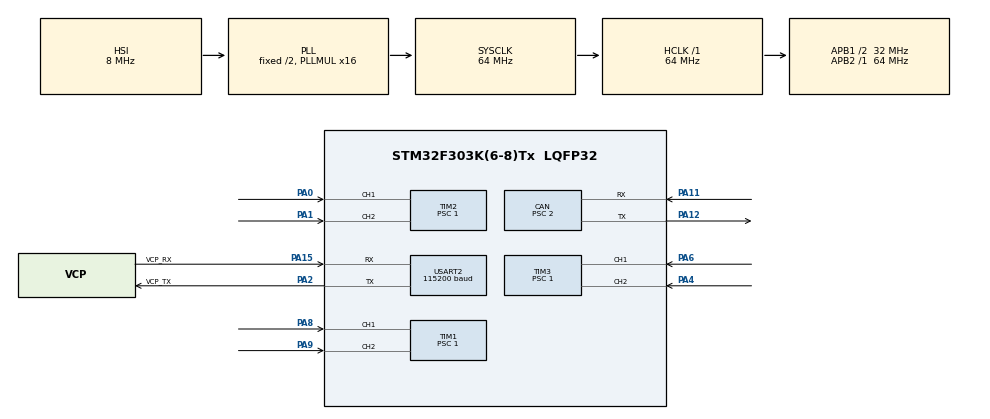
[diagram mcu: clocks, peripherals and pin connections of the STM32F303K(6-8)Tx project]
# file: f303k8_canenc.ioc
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CAN.BS1=CAN_BS1_7TQ
CAN.BS2=CAN_BS2_8TQ
CAN.CalculateTimeQuantum=62.5
CAN.Prescaler=2
Mcu.Family=STM32F3
Mcu.Name=STM32F303K(6-8)Tx
Mcu.Package=LQFP32
NVIC.PriorityGroup=NVIC_PRIORITYGROUP_4
NVIC.TIM1_UP_TIM16_IRQn=true\:0\:0\:false\:false\:true\:true\:true
PA0.Signal=S_TIM2_CH1_ETR
PA1.Signal=S_TIM2_CH2
PA11.Mode=Master
PA11.Signal=CAN_RX
PA12.Mode=Master
PA12.Signal=CAN_TX
PA13.GPIO_Label=SWDIO
PA13.Mode=Serial_Wire
PA13.Signal=SYS_JTMS-SWDIO
PA14.GPIO_Label=SWCLK
PA14.Mode=Serial_Wire
PA14.Signal=SYS_JTCK-SWCLK
PA15.GPIO_Label=VCP_RX
PA15.Mode=Asynchronous
PA15.Signal=USART2_RX
PA2.GPIO_Label=VCP_TX
PA2.Mode=Asynchronous
PA2.Signal=USART2_TX
PA4.Signal=S_TIM3_CH2
PA6.Signal=S_TIM3_CH1
PA8.Signal=S_TIM1_CH1
PA9.Signal=S_TIM1_CH2
PF0\ /\ OSC_IN.GPIO_Label=MCO
PF0\ /\ OSC_IN.Mode=HSE-External-Clock-Source
PF0\ /\ OSC_IN.Signal=RCC_OSC_IN
ProjectManager.HeapSize=0x200
ProjectManager.StackSize=0x400
ProjectManager.TargetToolchain=STM32CubeIDE
RCC.AHBFreq_Value=64000000
RCC.APB1CLKDivider=RCC_HCLK_DIV2
RCC.APB1Freq_Value=32000000
RCC.APB1TimFreq_Value=64000000
RCC.APB2Freq_Value=64000000
RCC.APB2TimFreq_Value=64000000
RCC.CortexFreq_Value=64000000
RCC.HCLKFreq_Value=64000000
RCC.HSE_VALUE=8000000
RCC.HSI_VALUE=8000000
RCC.PLLMUL=RCC_PLL_MUL16
RCC.SYSCLKFreq_VALUE=64000000
RCC.SYSCLKSourceVirtual=RCC_SYSCLKSOURCE_PLLCLK
SH.S_TIM1_CH1.0=TIM1_CH1,Encoder_Interface
SH.S_TIM1_CH2.0=TIM1_CH2,Encoder_Interface
SH.S_TIM2_CH1_ETR.0=TIM2_CH1,Encoder_Interface
SH.S_TIM2_CH2.0=TIM2_CH2,Encoder_Interface
SH.S_TIM3_CH1.0=TIM3_CH1,Encoder_Interface
SH.S_TIM3_CH2.0=TIM3_CH2,Encoder_Interface
TIM1.Period=59999
TIM1.Prescaler=1
TIM16.Period=6400
TIM16.Prescaler=999
TIM2.Period=59999
TIM2.Prescaler=1
TIM3.Period=59999
TIM3.Prescaler=1
USART2.BaudRate=115200
USART2.VirtualMode-Asynchronous=VM_ASYNC
VP_TIM16_VS_ClockSourceINT.Mode=Enable_Timer
board=NUCLEO-F303K8

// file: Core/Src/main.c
/* USER CODE BEGIN Header */
/**
 ******************************************************************************
 * @file           : main.c
 * @brief          : Main program body
 ******************************************************************************
 * @attention
 *
 * <h2><center>&copy; Copyright (c) 2021 STMicroelectronics.
 * All rights reserved.</center></h2>
 *
 * This software component is licensed by ST under BSD 3-Clause license,
 * the "License"; You may not use this file except in compliance with the
 * License. You may obtain a copy of the License at:
 *                        opensource.org/licenses/BSD-3-Clause
 *
 ******************************************************************************
 */
/* USER CODE END Header */
#include "main.h"

/* USER CODE BEGIN Includes */
#include "xprintf.h"
/* USER CODE END Includes */

CAN_HandleTypeDef hcan;

TIM_HandleTypeDef htim1;
TIM_HandleTypeDef htim2;
TIM_HandleTypeDef htim3;
TIM_HandleTypeDef htim16;

UART_HandleTypeDef huart2;

void SystemClock_Config(void);
static void MX_GPIO_Init(void);
static void MX_USART2_UART_Init(void);
static void MX_CAN_Init(void);
static void MX_TIM1_Init(void);
static void MX_TIM2_Init(void);
static void MX_TIM3_Init(void);
static void MX_TIM16_Init(void);

/* USER CODE BEGIN 0 */
void uart_putc(uint8_t c) {
	char buf[1];
	buf[0] = c;
	HAL_UART_Transmit(&huart2, (uint8_t*) buf, sizeof(buf), 0xFFFF);
}
CAN_TxHeaderTypeDef TxHeader;
CAN_TxHeaderTypeDef TxHeader1;

uint8_t TxData[8] = { 0 };
uint32_t TxMailbox;
uint8_t cnt;
TIM_Encoder_InitTypeDef sConfig1 = { 0 };
TIM_Encoder_InitTypeDef sConfig2 = { 0 };
TIM_Encoder_InitTypeDef sConfig3 = { 0 };
TIM_MasterConfigTypeDef sMasterConfig1 = { 0 };
TIM_MasterConfigTypeDef sMasterConfig2 = { 0 };
TIM_MasterConfigTypeDef sMasterConfig3 = { 0 };
int32_t rpm[3] = { 0 };

int16_t count[3] = { 0 };

void Count2rpm() {
	rpm[0] = TIM1->CNT - 30000;
	rpm[1] = TIM2->CNT - 30000;
	rpm[2] = TIM3->CNT - 30000;
	for (int i = 0; i < 2; i++) {
		count[i] = count[i] + rpm[i];
		if (count[i] < 0)
			count[i] = count[i] + 65536;
		if (count[i] > 65536)
			count[i] = count[i] - 65536;
	}
	TIM1->CNT = 30000;
	TIM2->CNT = 30000;
	TIM3->CNT = 30000;
}

/* USER CODE END 0 */

int main(void) {
	/* USER CODE BEGIN 1 */
	xdev_out(uart_putc);
	/* USER CODE END 1 */

	/* MCU Configuration--------------------------------------------------------*/

	/* Reset of all peripherals, Initializes the Flash interface and the Systick. */
	HAL_Init();

	/* Configure the system clock */
	SystemClock_Config();

	/* Initialize all configured peripherals */
	MX_GPIO_Init();
	MX_USART2_UART_Init();
	MX_CAN_Init();
	MX_TIM1_Init();
	MX_TIM2_Init();
	MX_TIM3_Init();
	MX_TIM16_Init();
	/* USER CODE BEGIN 2 */
	if (HAL_TIM_Encoder_Init(&htim1, &sConfig1) != HAL_OK) {
		Error_Handler();
	}
	HAL_TIM_Encoder_Start(&htim1, TIM_CHANNEL_ALL);
	TIM1->CNT = 30000;
	if (HAL_TIM_Encoder_Init(&htim2, &sConfig2) != HAL_OK) {
		Error_Handler();
	}
	HAL_TIM_Encoder_Start(&htim2, TIM_CHANNEL_ALL);
	TIM2->CNT = 30000;
	if (HAL_TIM_Encoder_Init(&htim3, &sConfig3) != HAL_OK) {
		Error_Handler();
	}
	HAL_TIM_Encoder_Start(&htim3, TIM_CHANNEL_ALL);
	TIM3->CNT = 30000;
	HAL_TIM_Base_Start_IT(&htim16);
	HAL_CAN_Start(&hcan);
	if (HAL_CAN_ActivateNotification(&hcan, CAN_IT_RX_FIFO0_MSG_PENDING)
			!= HAL_OK) {

		Error_Handler();
	}
	/* USER CODE END 2 */

	/* Infinite loop */
	while (1) {

		/* USER CODE BEGIN 3 */
		TxHeader.StdId = 0x301;
		TxHeader.RTR = CAN_RTR_DATA;
		TxHeader.IDE = CAN_ID_STD;
		TxHeader.DLC = 8;
		TxHeader.TransmitGlobalTime = DISABLE;

		TxHeader1.StdId = 0x302;
		TxHeader1.RTR = CAN_RTR_DATA;
		TxHeader1.IDE = CAN_ID_STD;
		TxHeader1.DLC = 8;
		TxHeader1.TransmitGlobalTime = DISABLE;

		uint16_t txrpm[3] = { rpm[0] + 512, rpm[1] + 512, rpm[2] + 512 };
		xprintf("%d\t,%d\t,%d\r\n", txrpm[0], txrpm[1], txrpm[2]);
		//for(int i=0;i<8;i++)TxData[i]=0;
		TxData[0] = txrpm[0] & 0xFF;
		TxData[1] = ((txrpm[0] >> 8) & 0x3) + ((txrpm[1] << 2) & 0xFC);
		TxData[2] = ((txrpm[1] >> 6) & 0xF) + ((txrpm[2] << 4) & 0xF0);
		TxData[3] = (txrpm[2] >> 4) & 0x3F;
//		xprintf("%d\t,%d\t,%d\t,%d\r\n", TxData[0], TxData[1], TxData[2], TxData[3]);
		/* Request transmission */
		if (HAL_CAN_AddTxMessage(&hcan, &TxHeader, TxData, &TxMailbox)
				!= HAL_OK) {
			/* Transmission request Error */
			Error_Handler();
		}
		HAL_Delay(10);
		while (HAL_CAN_GetTxMailboxesFreeLevel(&hcan) != 3) {
		}
		for(int i=0;i<2;i++){
			TxData[i*2] = count[i] & 0xFF;
			TxData[i*2+1] = count[i] >> 8;
		}
		if (HAL_CAN_AddTxMessage(&hcan, &TxHeader1, TxData, &TxMailbox)
				!= HAL_OK) {
			/* Transmission request Error */
			Error_Handler();
		}
		HAL_Delay(10);
		while (HAL_CAN_GetTxMailboxesFreeLevel(&hcan) != 3) {
		}
	}
	/* USER CODE END 3 */
}

void SystemClock_Config(void) {
	RCC_OscInitTypeDef RCC_OscInitStruct = { 0 };
	RCC_ClkInitTypeDef RCC_ClkInitStruct = { 0 };
	RCC_PeriphCLKInitTypeDef PeriphClkInit = { 0 };

	/** Initializes the RCC Oscillators according to the specified parameters
	 * in the RCC_OscInitTypeDef structure.
	 */
	RCC_OscInitStruct.OscillatorType = RCC_OSCILLATORTYPE_HSI;
	RCC_OscInitStruct.HSIState = RCC_HSI_ON;
	RCC_OscInitStruct.HSICalibrationValue = RCC_HSICALIBRATION_DEFAULT;
	RCC_OscInitStruct.PLL.PLLState = RCC_PLL_ON;
	RCC_OscInitStruct.PLL.PLLSource = RCC_PLLSOURCE_HSI;
	RCC_OscInitStruct.PLL.PLLMUL = RCC_PLL_MUL16;
	if (HAL_RCC_OscConfig(&RCC_OscInitStruct) != HAL_OK) {
		Error_Handler();
	}
	/** Initializes the CPU, AHB and APB buses clocks
	 */
	RCC_ClkInitStruct.ClockType = RCC_CLOCKTYPE_HCLK | RCC_CLOCKTYPE_SYSCLK
			| RCC_CLOCKTYPE_PCLK1 | RCC_CLOCKTYPE_PCLK2;
	RCC_ClkInitStruct.SYSCLKSource = RCC_SYSCLKSOURCE_PLLCLK;
	RCC_ClkInitStruct.AHBCLKDivider = RCC_SYSCLK_DIV1;
	RCC_ClkInitStruct.APB1CLKDivider = RCC_HCLK_DIV2;
	RCC_ClkInitStruct.APB2CLKDivider = RCC_HCLK_DIV1;

	if (HAL_RCC_ClockConfig(&RCC_ClkInitStruct, FLASH_LATENCY_2) != HAL_OK) {
		Error_Handler();
	}
	PeriphClkInit.PeriphClockSelection = RCC_PERIPHCLK_TIM1;
	PeriphClkInit.Tim1ClockSelection = RCC_TIM1CLK_HCLK;
	if (HAL_RCCEx_PeriphCLKConfig(&PeriphClkInit) != HAL_OK) {
		Error_Handler();
	}
}

static void MX_CAN_Init(void) {

	hcan.Instance = CAN;
	hcan.Init.Prescaler = 2;
	hcan.Init.Mode = CAN_MODE_NORMAL;
	hcan.Init.SyncJumpWidth = CAN_SJW_1TQ;
	hcan.Init.TimeSeg1 = CAN_BS1_7TQ;
	hcan.Init.TimeSeg2 = CAN_BS2_8TQ;
	hcan.Init.TimeTriggeredMode = DISABLE;
	hcan.Init.AutoBusOff = DISABLE;
	hcan.Init.AutoWakeUp = DISABLE;
	hcan.Init.AutoRetransmission = DISABLE;
	hcan.Init.ReceiveFifoLocked = DISABLE;
	hcan.Init.TransmitFifoPriority = DISABLE;
	if (HAL_CAN_Init(&hcan) != HAL_OK) {
		Error_Handler();
	}

}

static void MX_TIM1_Init(void) {

//  TIM_Encoder_InitTypeDef sConfig = {0};
//  TIM_MasterConfigTypeDef sMasterConfig = {0};
//  htim1.Instance = TIM1;
//  htim1.Init.Prescaler = 1;
//  htim1.Init.CounterMode = TIM_COUNTERMODE_UP;
//  htim1.Init.Period = 59999;
//  htim1.Init.ClockDivision = TIM_CLOCKDIVISION_DIV1;
//  htim1.Init.RepetitionCounter = 0;
//  htim1.Init.AutoReloadPreload = TIM_AUTORELOAD_PRELOAD_DISABLE;
//  sConfig.EncoderMode = TIM_ENCODERMODE_TI1;
//  sConfig.IC1Polarity = TIM_ICPOLARITY_RISING;
//  sConfig.IC1Selection = TIM_ICSELECTION_DIRECTTI;
//  sConfig.IC1Prescaler = TIM_ICPSC_DIV1;
//  sConfig.IC1Filter = 0;
//  sConfig.IC2Polarity = TIM_ICPOLARITY_RISING;
//  sConfig.IC2Selection = TIM_ICSELECTION_DIRECTTI;
//  sConfig.IC2Prescaler = TIM_ICPSC_DIV1;
//  sConfig.IC2Filter = 0;
//  if (HAL_TIM_Encoder_Init(&htim1, &sConfig) != HAL_OK)
//  {
//    Error_Handler();
//  }
//  sMasterConfig.MasterOutputTrigger = TIM_TRGO_RESET;
//  sMasterConfig.MasterOutputTrigger2 = TIM_TRGO2_RESET;
//  sMasterConfig.MasterSlaveMode = TIM_MASTERSLAVEMODE_DISABLE;
//  if (HAL_TIMEx_MasterConfigSynchronization(&htim1, &sMasterConfig) != HAL_OK)
//  {
//    Error_Handler();
//  }
	/* USER CODE BEGIN TIM1_Init 2 */
	htim1.Instance = TIM1;
	htim1.Init.Prescaler = 0;
	htim1.Init.CounterMode = TIM_COUNTERMODE_UP;
	htim1.Init.Period = 65535;
	htim1.Init.ClockDivision = TIM_CLOCKDIVISION_DIV1;
	htim1.Init.RepetitionCounter = 0;
	htim1.Init.AutoReloadPreload = TIM_AUTORELOAD_PRELOAD_DISABLE;
	sConfig1.EncoderMode = TIM_ENCODERMODE_TI1;
	sConfig1.IC1Polarity = TIM_ICPOLARITY_RISING;
	sConfig1.IC1Selection = TIM_ICSELECTION_DIRECTTI;
	sConfig1.IC1Prescaler = TIM_ICPSC_DIV1;
	sConfig1.IC1Filter = 0;
	sConfig1.IC2Polarity = TIM_ICPOLARITY_RISING;
	sConfig1.IC2Selection = TIM_ICSELECTION_DIRECTTI;
	sConfig1.IC2Prescaler = TIM_ICPSC_DIV1;
	sConfig1.IC2Filter = 0;
	if (HAL_TIM_Encoder_Init(&htim1, &sConfig1) != HAL_OK) {
		Error_Handler();
	}
	sMasterConfig1.MasterOutputTrigger = TIM_TRGO_RESET;
	sMasterConfig1.MasterOutputTrigger2 = TIM_TRGO2_RESET;
	sMasterConfig1.MasterSlaveMode = TIM_MASTERSLAVEMODE_DISABLE;
	if (HAL_TIMEx_MasterConfigSynchronization(&htim1, &sMasterConfig1)
			!= HAL_OK) {
		Error_Handler();
	}
	/* USER CODE END TIM1_Init 2 */

}

static void MX_TIM2_Init(void) {

//  TIM_Encoder_InitTypeDef sConfig = {0};
//  TIM_MasterConfigTypeDef sMasterConfig = {0};
//  htim2.Instance = TIM2;
//  htim2.Init.Prescaler = 1;
//  htim2.Init.CounterMode = TIM_COUNTERMODE_UP;
//  htim2.Init.Period = 59999;
//  htim2.Init.ClockDivision = TIM_CLOCKDIVISION_DIV1;
//  htim2.Init.AutoReloadPreload = TIM_AUTORELOAD_PRELOAD_DISABLE;
//  sConfig.EncoderMode = TIM_ENCODERMODE_TI1;
//  sConfig.IC1Polarity = TIM_ICPOLARITY_RISING;
//  sConfig.IC1Selection = TIM_ICSELECTION_DIRECTTI;
//  sConfig.IC1Prescaler = TIM_ICPSC_DIV1;
//  sConfig.IC1Filter = 0;
//  sConfig.IC2Polarity = TIM_ICPOLARITY_RISING;
//  sConfig.IC2Selection = TIM_ICSELECTION_DIRECTTI;
//  sConfig.IC2Prescaler = TIM_ICPSC_DIV1;
//  sConfig.IC2Filter = 0;
//  if (HAL_TIM_Encoder_Init(&htim2, &sConfig) != HAL_OK)
//  {
//    Error_Handler();
//  }
//  sMasterConfig.MasterOutputTrigger = TIM_TRGO_RESET;
//  sMasterConfig.MasterSlaveMode = TIM_MASTERSLAVEMODE_DISABLE;
//  if (HAL_TIMEx_MasterConfigSynchronization(&htim2, &sMasterConfig) != HAL_OK)
//  {
//    Error_Handler();
//  }
	/* USER CODE BEGIN TIM2_Init 2 */
	htim2.Instance = TIM2;
	htim2.Init.Prescaler = 0;
	htim2.Init.CounterMode = TIM_COUNTERMODE_UP;
	htim2.Init.Period = 4294967295;
	htim2.Init.ClockDivision = TIM_CLOCKDIVISION_DIV1;
	htim2.Init.AutoReloadPreload = TIM_AUTORELOAD_PRELOAD_DISABLE;
	sConfig2.EncoderMode = TIM_ENCODERMODE_TI1;
	sConfig2.IC1Polarity = TIM_ICPOLARITY_RISING;
	sConfig2.IC1Selection = TIM_ICSELECTION_DIRECTTI;
	sConfig2.IC1Prescaler = TIM_ICPSC_DIV1;
	sConfig2.IC1Filter = 0;
	sConfig2.IC2Polarity = TIM_ICPOLARITY_RISING;
	sConfig2.IC2Selection = TIM_ICSELECTION_DIRECTTI;
	sConfig2.IC2Prescaler = TIM_ICPSC_DIV1;
	sConfig2.IC2Filter = 0;
	if (HAL_TIM_Encoder_Init(&htim2, &sConfig2) != HAL_OK) {
		Error_Handler();
	}
	sMasterConfig2.MasterOutputTrigger = TIM_TRGO_RESET;
	sMasterConfig2.MasterSlaveMode = TIM_MASTERSLAVEMODE_DISABLE;
	if (HAL_TIMEx_MasterConfigSynchronization(&htim2, &sMasterConfig2)
			!= HAL_OK) {
		Error_Handler();
	}
	/* USER CODE END TIM2_Init 2 */

}

static void MX_TIM3_Init(void) {

//  TIM_Encoder_InitTypeDef sConfig = {0};
//  TIM_MasterConfigTypeDef sMasterConfig = {0};
//  htim3.Instance = TIM3;
//  htim3.Init.Prescaler = 1;
//  htim3.Init.CounterMode = TIM_COUNTERMODE_UP;
//  htim3.Init.Period = 59999;
//  htim3.Init.ClockDivision = TIM_CLOCKDIVISION_DIV1;
//  htim3.Init.AutoReloadPreload = TIM_AUTORELOAD_PRELOAD_DISABLE;
//  sConfig.EncoderMode = TIM_ENCODERMODE_TI1;
//  sConfig.IC1Polarity = TIM_ICPOLARITY_RISING;
//  sConfig.IC1Selection = TIM_ICSELECTION_DIRECTTI;
//  sConfig.IC1Prescaler = TIM_ICPSC_DIV1;
//  sConfig.IC1Filter = 0;
//  sConfig.IC2Polarity = TIM_ICPOLARITY_RISING;
//  sConfig.IC2Selection = TIM_ICSELECTION_DIRECTTI;
//  sConfig.IC2Prescaler = TIM_ICPSC_DIV1;
//  sConfig.IC2Filter = 0;
//  if (HAL_TIM_Encoder_Init(&htim3, &sConfig) != HAL_OK)
//  {
//    Error_Handler();
//  }
//  sMasterConfig.MasterOutputTrigger = TIM_TRGO_RESET;
//  sMasterConfig.MasterSlaveMode = TIM_MASTERSLAVEMODE_DISABLE;
//  if (HAL_TIMEx_MasterConfigSynchronization(&htim3, &sMasterConfig) != HAL_OK)
//  {
//    Error_Handler();
//  }
	/* USER CODE BEGIN TIM3_Init 2 */
	htim3.Instance = TIM3;
	htim3.Init.Prescaler = 0;
	htim3.Init.CounterMode = TIM_COUNTERMODE_UP;
	htim3.Init.Period = 65535;
	htim3.Init.ClockDivision = TIM_CLOCKDIVISION_DIV1;
	htim3.Init.AutoReloadPreload = TIM_AUTORELOAD_PRELOAD_DISABLE;
	sConfig3.EncoderMode = TIM_ENCODERMODE_TI1;
	sConfig3.IC1Polarity = TIM_ICPOLARITY_RISING;
	sConfig3.IC1Selection = TIM_ICSELECTION_DIRECTTI;
	sConfig3.IC1Prescaler = TIM_ICPSC_DIV1;
	sConfig3.IC1Filter = 0;
	sConfig3.IC2Polarity = TIM_ICPOLARITY_RISING;
	sConfig3.IC2Selection = TIM_ICSELECTION_DIRECTTI;
	sConfig3.IC2Prescaler = TIM_ICPSC_DIV1;
	sConfig3.IC2Filter = 0;
	if (HAL_TIM_Encoder_Init(&htim3, &sConfig3) != HAL_OK) {
		Error_Handler();
	}
	sMasterConfig3.MasterOutputTrigger = TIM_TRGO_RESET;
	sMasterConfig3.MasterSlaveMode = TIM_MASTERSLAVEMODE_DISABLE;
	if (HAL_TIMEx_MasterConfigSynchronization(&htim3, &sMasterConfig3)
			!= HAL_OK) {
		Error_Handler();
	}
	/* USER CODE END TIM3_Init 2 */

}

static void MX_TIM16_Init(void) {

	htim16.Instance = TIM16;
	htim16.Init.Prescaler = 99;
	htim16.Init.CounterMode = TIM_COUNTERMODE_UP;
	htim16.Init.Period = 65535;
	htim16.Init.ClockDivision = TIM_CLOCKDIVISION_DIV1;
	htim16.Init.RepetitionCounter = 0;
	htim16.Init.AutoReloadPreload = TIM_AUTORELOAD_PRELOAD_DISABLE;
	if (HAL_TIM_Base_Init(&htim16) != HAL_OK) {
		Error_Handler();
	}

}

static void MX_USART2_UART_Init(void) {

	huart2.Instance = USART2;
	huart2.Init.BaudRate = 38400;
	huart2.Init.WordLength = UART_WORDLENGTH_8B;
	huart2.Init.StopBits = UART_STOPBITS_1;
	huart2.Init.Parity = UART_PARITY_NONE;
	huart2.Init.Mode = UART_MODE_TX_RX;
	huart2.Init.HwFlowCtl = UART_HWCONTROL_NONE;
	huart2.Init.OverSampling = UART_OVERSAMPLING_16;
	huart2.Init.OneBitSampling = UART_ONE_BIT_SAMPLE_DISABLE;
	huart2.AdvancedInit.AdvFeatureInit = UART_ADVFEATURE_NO_INIT;
	if (HAL_UART_Init(&huart2) != HAL_OK) {
		Error_Handler();
	}

}

static void MX_GPIO_Init(void) {

	/* GPIO Ports Clock Enable */
	__HAL_RCC_GPIOF_CLK_ENABLE();
	__HAL_RCC_GPIOA_CLK_ENABLE();

}

void Error_Handler(void) {
}

/************************ (C) COPYRIGHT STMicroelectronics *****END OF FILE****/
